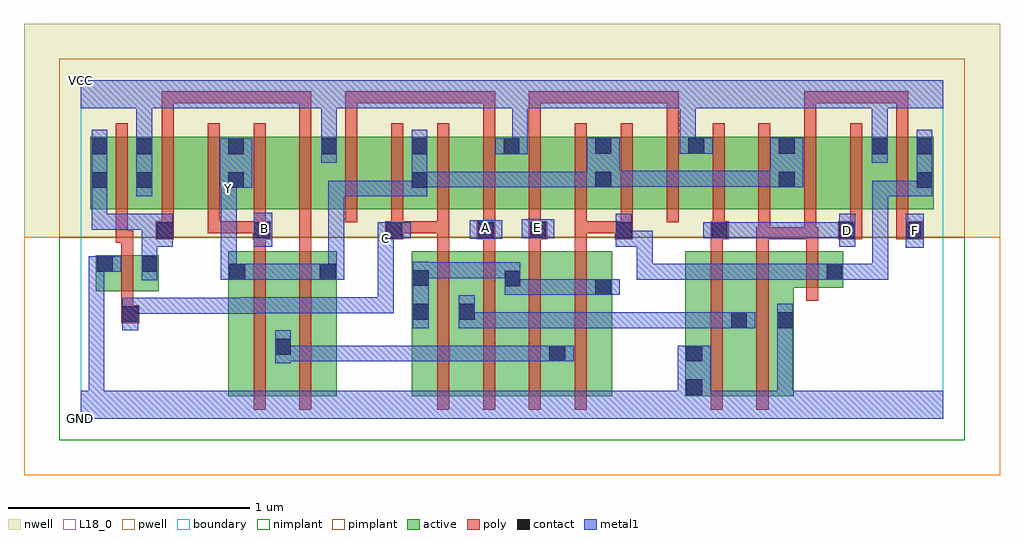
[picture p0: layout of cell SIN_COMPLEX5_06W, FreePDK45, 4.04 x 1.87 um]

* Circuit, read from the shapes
.subckt SIN_COMPLEX5_06W A B C D E F GND VCC Y
M1 n1 C GND VSUBS nfet w=0.15u l=0.05u
M2 n2 B Y VSUBS nfet w=0.6u l=0.05u
M3 Y n1 n2 VSUBS nfet w=0.6u l=0.05u
M4 n3 C n4 VSUBS nfet w=0.6u l=0.05u
M5 n4 A n3 VSUBS nfet w=0.6u l=0.05u
M6 n2 E n4 VSUBS nfet w=0.6u l=0.05u
M7 n4 n5 n2 VSUBS nfet w=0.6u l=0.05u
M8 n3 D GND VSUBS nfet w=0.6u l=0.05u
M9 GND F n3 VSUBS nfet w=0.6u l=0.05u
M10 n5 F GND VSUBS nfet w=0.15u l=0.05u
M11 VCC C n1 n6 pfet w=0.3u l=0.05u
M12 n7 n1 VCC n6 pfet w=0.3u l=0.05u
M13 Y B n7 n6 pfet w=0.3u l=0.05u
M14 n8 B Y n6 pfet w=0.3u l=0.05u
M15 VCC n1 n8 n6 pfet w=0.3u l=0.05u
M16 n9 A VCC n6 pfet w=0.3u l=0.05u
M17 Y C n9 n6 pfet w=0.3u l=0.05u
M18 n10 C Y n6 pfet w=0.3u l=0.05u
M19 VCC A n10 n6 pfet w=0.3u l=0.05u
M20 n11 E VCC n6 pfet w=0.3u l=0.05u
M21 Y n5 n11 n6 pfet w=0.3u l=0.05u
M22 n12 n5 Y n6 pfet w=0.3u l=0.05u
M23 VCC E n12 n6 pfet w=0.3u l=0.05u
M24 n13 D VCC n6 pfet w=0.3u l=0.05u
M25 Y F n13 n6 pfet w=0.3u l=0.05u
M26 n14 F Y n6 pfet w=0.3u l=0.05u
M27 VCC D n14 n6 pfet w=0.3u l=0.05u
M28 n5 F VCC n6 pfet w=0.3u l=0.05u
.ends

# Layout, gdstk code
import gdstk
lib = gdstk.Library(unit=1e-6, precision=1e-09)
def R(c, l, rs):  # rectangles x0, y0, x1, y1
    for r in rs: c.add(gdstk.rectangle(r[:2], r[2:], *l))
def A(c, l, x, y, w, h, nx, ny, dx, dy):  # array of equal rectangles
    R(c, l, [(x+i*dx, y+j*dy, x+i*dx+w, y+j*dy+h) for i in range(nx) for j in range(ny)])
active = (1, 0)
pwell = (2, 0)
nwell = (3, 0)
nimplant = (4, 0)
pimplant = (5, 0)
poly = (9, 0)
contact = (10, 0)
metal1 = (11, 0)
L18_0 = (18, 0)
boundary = (235, 0)

sin_complex5_06w = lib.new_cell('SIN_COMPLEX5_06W')
A(sin_complex5_06w, active, 1.37, 0.095, 0.075, 0.597, 3, 1, 0.19, 0)
A(sin_complex5_06w, active, 1.215, 0.867, 0.225, 0.3, 3, 1, 0.38, 0)
A(sin_complex5_06w, active, 1.365, 0.867, 0.075, 0.3, 3, 1, 0.76, 0)
A(sin_complex5_06w, active, 1.365, 0.867, 0.23, 0.3, 3, 1, 0.38, 0)
R(sin_complex5_06w, active, [(0.61,0.092,0.875,0.692), (0.8,0.092,1.06,0.692), (1.37,0.092,1.635,0.692), (1.56,0.092,1.825,0.692), (1.75,0.092,2.01,0.692), (1.935,0.092,2.2,0.692), (2.502,0.092,2.762,0.692), (2.502,0.092,2.577,0.68), (2.687,0.092,2.952,0.692), (2.877,0.092,2.952,0.542), (0.61,0.095,0.685,0.692), (0.8,0.095,0.875,0.692), (0.985,0.095,1.06,0.692), (1.935,0.095,2.01,0.68), (2.125,0.095,2.2,0.692), (2.687,0.095,2.762,0.692), (0.062,0.527,0.137,0.677), (0.062,0.527,0.322,0.677), (0.247,0.527,0.322,0.677), (2.877,0.542,3.157,0.692), (3.082,0.545,3.157,0.692), (0.04,0.867,0.115,1.165), (0.04,0.867,0.3,1.167), (0.225,0.867,0.3,1.167), (0.225,0.867,0.455,1.167), (0.455,0.867,0.68,1.167), (0.605,0.867,0.68,1.167), (0.605,0.867,0.835,1.167), (0.835,0.867,1.065,1.167), (0.99,0.867,1.065,1.167), (0.99,0.867,1.215,1.167), (2.355,0.867,2.585,1.167), (2.51,0.867,2.735,1.167), (2.735,0.867,2.96,1.167), (2.885,0.867,3.115,1.167), (3.115,0.867,3.345,1.167), (3.27,0.867,3.53,1.167), (3.27,0.867,3.345,1.167), (3.455,0.867,3.53,1.165), (1.745,1.002,1.82,1.167), (2.51,1.002,2.585,1.167)])
R(sin_complex5_06w, pwell, [(-0.235,-0.235,3.805,0.75)])
R(sin_complex5_06w, nwell, [(-0.235,0.75,3.805,1.635)])
R(sin_complex5_06w, nimplant, [(-0.09,-0.09,3.66,0.75)])
R(sin_complex5_06w, pimplant, [(-0.09,0.75,3.66,1.49)])
A(sin_complex5_06w, poly, 1.475, 0.037, 0.05, 0.71, 4, 1, 0.19, 0)
A(sin_complex5_06w, poly, 0.905, 0.697, 0.05, 0.12, 3, 1, 0.57, 0)
A(sin_complex5_06w, poly, 0.335, 0.767, 0.05, 0.095, 4, 1, 0.19, 0)
A(sin_complex5_06w, poly, 1.285, 0.767, 0.05, 0.095, 6, 1, 0.19, 0)
A(sin_complex5_06w, poly, 0.145, 0.812, 0.05, 0.41, 18, 1, 0.19, 0)
A(sin_complex5_06w, poly, 1.855, 1.172, 0.05, 0.183, 3, 1, 0.57, 0)
R(sin_complex5_06w, poly, [(0.715,0.037,0.765,0.747), (0.905,0.037,0.955,0.747), (2.607,0.037,2.657,0.747), (2.797,0.037,2.847,0.747), (0.167,0.395,0.242,0.47), (0.167,0.42,0.217,0.522), (0.167,0.472,0.217,0.732), (3.002,0.487,3.052,0.747), (0.167,0.682,0.217,0.777), (0.715,0.697,0.765,0.792), (1.665,0.697,1.715,0.792), (1.855,0.697,1.905,0.792), (2.607,0.697,2.657,0.792), (2.797,0.697,2.847,0.792), (3.002,0.697,3.052,0.792), (0.145,0.727,0.195,0.862), (0.145,0.727,0.217,0.777), (0.31,0.742,0.385,0.817), (0.712,0.742,0.787,0.817), (1.26,0.742,1.335,0.817), (1.64,0.742,1.715,0.817), (1.855,0.742,1.93,0.817), (2.21,0.742,2.285,0.817), (2.607,0.742,2.682,0.817), (2.797,0.742,2.855,0.792), (2.805,0.742,2.855,0.792), (2.805,0.742,2.855,0.792), (2.805,0.742,2.855,0.862), (2.805,0.742,3.045,0.792), (2.995,0.742,3.045,0.862), (2.995,0.742,3.052,0.792), (3.135,0.742,3.235,0.817), (3.375,0.742,3.485,0.817), (0.525,0.767,0.575,0.817), (0.525,0.767,0.575,0.817), (0.525,0.767,0.575,0.817), (0.525,0.767,0.762,0.817), (0.905,0.767,0.955,0.817), (1.285,0.767,1.525,0.817), (1.475,0.767,1.525,0.817), (1.475,0.767,1.525,0.817), (1.475,0.767,1.525,0.817), (2.045,0.767,2.095,0.817), (2.045,0.767,2.095,0.817), (2.045,0.767,2.095,0.817), (2.045,0.767,2.26,0.817), (2.615,0.767,2.665,0.862), (3.185,0.767,3.235,0.862), (3.375,0.767,3.425,0.862), (0.335,1.172,0.385,1.355), (0.905,1.172,0.955,1.355), (1.095,1.172,1.145,1.355), (1.665,1.172,1.715,1.355), (3.375,1.172,3.425,1.355), (0.335,1.305,0.385,1.355), (0.335,1.305,0.385,1.355), (0.335,1.305,0.385,1.355), (0.335,1.305,0.517,1.355), (0.467,1.305,0.517,1.355), (0.467,1.305,0.517,1.355), (0.467,1.305,0.517,1.355), (0.467,1.305,0.707,1.355), (0.657,1.305,0.707,1.355), (0.657,1.305,0.955,1.355), (0.905,1.305,0.955,1.355), (0.905,1.305,0.955,1.355), (0.905,1.305,0.955,1.355), (1.095,1.305,1.145,1.355), (1.095,1.305,1.145,1.355), (1.095,1.305,1.145,1.355), (1.095,1.305,1.335,1.355), (1.285,1.305,1.335,1.355), (1.285,1.305,1.335,1.355), (1.285,1.305,1.335,1.355), (1.285,1.305,1.467,1.355), (1.417,1.305,1.467,1.355), (1.417,1.305,1.715,1.355), (1.665,1.305,1.715,1.355), (1.665,1.305,1.715,1.355), (1.665,1.305,1.715,1.355), (1.855,1.305,1.905,1.355), (1.855,1.305,1.905,1.355), (1.855,1.305,1.905,1.355), (1.855,1.305,2.062,1.355), (2.012,1.305,2.062,1.355), (2.012,1.305,2.062,1.355), (2.012,1.305,2.062,1.355), (2.012,1.305,2.342,1.355), (2.292,1.305,2.342,1.355), (2.292,1.305,2.475,1.355), (2.425,1.305,2.475,1.355), (2.425,1.305,2.475,1.355), (2.425,1.305,2.475,1.355), (2.995,1.305,3.045,1.355), (2.995,1.305,3.045,1.355), (2.995,1.305,3.045,1.355), (2.995,1.305,3.177,1.355), (3.127,1.305,3.177,1.355), (3.127,1.305,3.425,1.355), (3.375,1.305,3.425,1.355), (3.375,1.305,3.425,1.355), (3.375,1.305,3.425,1.355)])
R(sin_complex5_06w, contact, [(2.507,0.097,2.572,0.162), (1.94,0.237,2.005,0.302), (2.507,0.237,2.572,0.302), (0.805,0.265,0.87,0.33), (2.692,0.375,2.757,0.44), (2.882,0.375,2.947,0.44), (0.172,0.4,0.237,0.465), (1.375,0.41,1.44,0.475), (1.565,0.41,1.63,0.475), (2.13,0.512,2.195,0.577), (1.755,0.547,1.82,0.612), (1.375,0.55,1.44,0.615), (0.615,0.575,0.68,0.64), (0.99,0.575,1.055,0.64), (3.087,0.575,3.152,0.64), (0.067,0.607,0.132,0.672), (0.252,0.607,0.317,0.672), (0.315,0.747,0.38,0.812), (0.717,0.747,0.782,0.812), (1.265,0.747,1.33,0.812), (1.645,0.747,1.71,0.812), (1.86,0.747,1.925,0.812), (2.215,0.747,2.28,0.812), (2.612,0.747,2.677,0.812), (3.14,0.747,3.205,0.812), (3.415,0.747,3.48,0.812), (0.045,0.955,0.11,1.02), (0.23,0.955,0.295,1.02), (0.61,0.955,0.675,1.02), (1.37,0.955,1.435,1.02), (3.46,0.955,3.525,1.02), (2.13,0.957,2.195,1.022), (2.89,0.957,2.955,1.022), (0.045,1.095,0.11,1.16), (0.23,1.095,0.295,1.16), (0.61,1.095,0.675,1.16), (0.995,1.095,1.06,1.16), (1.37,1.095,1.435,1.16), (1.75,1.095,1.815,1.16), (3.275,1.095,3.34,1.16), (3.46,1.095,3.525,1.16), (2.13,1.097,2.195,1.162), (2.515,1.097,2.58,1.162), (2.89,1.097,2.955,1.162)])
R(sin_complex5_06w, metal1, [(0,0,3.57,0.115), (0.032,0.05,0.097,0.672), (2.542,0.05,2.607,0.162), (2.882,0.05,2.947,0.405), (2.472,0.097,2.607,0.302), (0.805,0.23,0.87,0.365), (0.805,0.237,0.87,0.302), (0.805,0.237,0.87,0.302), (0.805,0.237,1.157,0.302), (1.092,0.237,1.157,0.302), (1.092,0.237,1.157,0.302), (1.092,0.237,1.157,0.302), (1.092,0.237,1.297,0.302), (1.232,0.237,1.297,0.302), (1.232,0.237,1.297,0.302), (1.232,0.237,1.297,0.302), (1.232,0.237,1.435,0.302), (1.37,0.237,1.435,0.302), (1.37,0.237,1.435,0.302), (1.37,0.237,1.435,0.302), (1.37,0.237,1.63,0.302), (1.565,0.237,1.63,0.302), (1.565,0.237,1.63,0.302), (1.565,0.237,1.63,0.302), (1.565,0.237,1.832,0.302), (1.767,0.237,1.832,0.302), (1.767,0.237,1.832,0.302), (1.767,0.237,1.832,0.302), (1.767,0.237,1.97,0.302), (1.905,0.237,2.04,0.302), (2.882,0.34,2.947,0.475), (0.172,0.365,0.237,0.5), (1.375,0.375,1.44,0.65), (1.565,0.375,1.63,0.44), (1.565,0.375,1.63,0.44), (1.565,0.375,1.63,0.51), (1.565,0.375,1.767,0.44), (1.702,0.375,1.767,0.44), (1.702,0.375,1.767,0.44), (1.702,0.375,1.767,0.44), (1.702,0.375,1.97,0.44), (1.905,0.375,1.97,0.44), (1.905,0.375,1.97,0.44), (1.905,0.375,1.97,0.44), (1.905,0.375,2.23,0.44), (2.165,0.375,2.23,0.44), (2.165,0.375,2.367,0.44), (2.302,0.375,2.367,0.44), (2.302,0.375,2.367,0.44), (2.302,0.375,2.367,0.44), (2.302,0.375,2.505,0.44), (2.44,0.375,2.505,0.44), (2.44,0.375,2.505,0.44), (2.44,0.375,2.505,0.44), (2.44,0.375,2.722,0.44), (2.657,0.375,2.722,0.44), (2.657,0.375,2.722,0.44), (2.657,0.375,2.792,0.44), (0.172,0.435,0.317,0.5), (0.252,0.435,0.317,0.5), (0.252,0.435,0.455,0.5), (0.39,0.435,0.455,0.5), (0.39,0.435,0.455,0.5), (0.39,0.435,0.455,0.5), (0.39,0.435,0.592,0.5), (0.527,0.435,0.592,0.5), (0.527,0.435,0.592,0.5), (0.527,0.435,0.592,0.5), (0.527,0.435,0.73,0.5), (0.665,0.435,0.73,0.502), (0.665,0.437,0.882,0.502), (0.817,0.437,0.882,0.502), (0.817,0.437,0.882,0.502), (0.817,0.437,0.882,0.502), (0.817,0.437,1.02,0.502), (0.955,0.437,1.02,0.502), (0.955,0.437,1.02,0.502), (0.955,0.437,1.02,0.502), (0.955,0.437,1.295,0.502), (1.23,0.437,1.295,0.502), (1.23,0.437,1.295,0.502), (1.23,0.437,1.295,0.502), (1.23,0.437,1.295,0.502), (1.23,0.437,1.295,0.502), (1.23,0.437,1.295,0.742), (1.755,0.512,1.82,0.577), (1.755,0.512,1.82,0.577), (1.755,0.512,1.82,0.647), (1.755,0.512,2.022,0.577), (1.957,0.512,2.022,0.577), (1.957,0.512,2.022,0.577), (1.957,0.512,2.022,0.577), (1.957,0.512,2.16,0.577), (2.095,0.512,2.23,0.577), (0.252,0.572,0.317,0.707), (0.58,0.575,0.715,0.64), (0.58,0.575,0.645,0.95), (0.65,0.575,0.73,0.64), (0.665,0.575,0.73,0.64), (0.665,0.575,0.882,0.64), (0.817,0.575,0.882,0.64), (0.817,0.575,0.882,0.64), (0.817,0.575,0.882,0.64), (0.817,0.575,1.02,0.64), (0.955,0.575,1.09,0.64), (1.025,0.575,1.09,0.64), (1.025,0.575,1.09,0.64), (1.025,0.575,1.09,0.985), (2.302,0.575,2.367,0.64), (2.302,0.575,2.505,0.64), (2.302,0.575,2.367,0.777), (2.44,0.575,2.505,0.64), (2.44,0.575,2.505,0.64), (2.44,0.575,2.505,0.64), (2.44,0.575,2.685,0.64), (2.62,0.575,2.685,0.64), (2.62,0.575,2.685,0.64), (2.62,0.575,2.685,0.64), (2.62,0.575,2.86,0.64), (2.795,0.575,2.86,0.64), (2.795,0.575,2.86,0.64), (2.795,0.575,2.86,0.64), (2.795,0.575,3.057,0.64), (2.992,0.575,3.057,0.64), (2.992,0.575,3.117,0.64), (3.052,0.575,3.187,0.64), (3.122,0.575,3.342,0.64), (3.277,0.575,3.342,0.64), (3.277,0.575,3.342,0.64), (3.277,0.575,3.342,0.64), (3.277,0.575,3.342,0.985), (1.375,0.582,1.44,0.647), (1.375,0.582,1.44,0.647), (1.375,0.582,1.577,0.647), (1.512,0.582,1.577,0.647), (1.512,0.582,1.577,0.647), (1.512,0.582,1.577,0.647), (1.512,0.582,1.82,0.647), (0.032,0.607,0.097,0.672), (0.032,0.607,0.097,0.672), (0.032,0.607,0.097,0.672), (0.032,0.607,0.097,0.672), (0.032,0.607,0.097,0.672), (0.032,0.607,0.097,0.672), (0.032,0.607,0.167,0.672), (0.252,0.642,0.317,0.847), (1.23,0.677,1.295,0.812), (3.415,0.707,3.49,0.847), (0.315,0.712,0.38,0.847), (0.717,0.712,0.792,0.852), (2.215,0.712,2.28,0.847), (2.215,0.712,2.367,0.777), (2.302,0.712,2.367,0.777), (3.14,0.712,3.205,0.847), (1.61,0.745,1.745,0.822), (1.23,0.747,1.295,0.812), (1.23,0.747,1.365,0.812), (1.825,0.747,1.96,0.825), (2.577,0.747,2.712,0.812), (2.647,0.747,2.712,0.812), (2.647,0.747,2.712,0.812), (2.647,0.747,2.86,0.812), (2.795,0.747,2.86,0.812), (2.795,0.747,2.86,0.812), (2.795,0.747,2.86,0.812), (2.795,0.747,3.057,0.812), (2.992,0.747,3.057,0.812), (2.992,0.747,3.057,0.812), (2.992,0.747,3.057,0.812), (2.992,0.747,3.205,0.812), (0.045,0.782,0.11,0.847), (0.045,0.782,0.11,0.847), (0.045,0.782,0.11,0.847), (0.045,0.782,0.317,0.847), (0.045,0.782,0.11,0.985), (0.252,0.782,0.317,0.847), (0.252,0.782,0.38,0.847), (0.58,0.885,0.645,1.02), (0.045,0.92,0.11,1.195), (0.23,0.92,0.295,1.195), (1.025,0.92,1.09,0.985), (1.025,0.92,1.09,0.985), (1.025,0.92,1.09,0.985), (1.025,0.92,1.297,0.985), (1.232,0.92,1.297,0.985), (1.232,0.92,1.297,0.985), (1.232,0.92,1.297,0.985), (1.232,0.92,1.435,0.985), (1.37,0.92,1.435,1.195), (3.277,0.92,3.342,0.985), (3.277,0.92,3.342,0.985), (3.277,0.92,3.342,0.985), (3.277,0.92,3.525,0.985), (3.46,0.92,3.525,0.985), (3.46,0.92,3.525,0.985), (3.46,0.92,3.525,1.195), (0.575,0.955,0.71,1.16), (0.58,0.955,0.645,1.02), (1.37,0.957,1.435,1.022), (1.37,0.957,1.435,1.022), (1.37,0.957,1.577,1.022), (1.512,0.957,1.577,1.022), (1.512,0.957,1.577,1.022), (1.512,0.957,1.577,1.022), (1.512,0.957,1.767,1.022), (1.702,0.957,1.767,1.022), (1.702,0.957,1.767,1.022), (1.702,0.957,1.767,1.022), (1.702,0.957,2.022,1.022), (1.957,0.957,2.022,1.022), (1.957,0.957,2.022,1.022), (1.957,0.957,2.022,1.022), (1.957,0.957,2.16,1.022), (2.095,0.957,2.23,1.162), (2.855,0.957,2.99,1.162), (2.165,0.96,2.23,1.025), (2.165,0.96,2.23,1.025), (2.165,0.96,2.367,1.025), (2.302,0.96,2.367,1.025), (2.302,0.96,2.505,1.025), (2.44,0.96,2.505,1.025), (2.44,0.96,2.505,1.025), (2.44,0.96,2.505,1.025), (2.44,0.96,2.642,1.025), (2.577,0.96,2.642,1.025), (2.577,0.96,2.642,1.025), (2.577,0.96,2.642,1.025), (2.577,0.96,2.92,1.025), (2.855,0.96,2.92,1.025), (2.855,0.96,2.92,1.025), (0.995,1.06,1.06,1.195), (3.275,1.06,3.34,1.195), (1.715,1.095,1.85,1.16), (1.785,1.095,1.85,1.35), (2.48,1.097,2.615,1.162), (2.48,1.097,2.545,1.35), (0.23,1.13,0.295,1.35), (0.995,1.13,1.06,1.35), (3.275,1.13,3.34,1.35), (0,1.285,3.57,1.4), (0.23,1.285,0.295,1.35), (0.23,1.285,0.295,1.35), (0.995,1.285,1.06,1.35), (0.995,1.285,1.06,1.35), (1.785,1.285,1.85,1.35), (1.785,1.285,1.85,1.35), (2.48,1.285,2.545,1.35), (2.48,1.285,2.545,1.35), (3.275,1.285,3.34,1.35), (3.275,1.285,3.34,1.35)])
R(sin_complex5_06w, L18_0, [(0,0,3.57,0.115), (0.032,0.05,0.097,0.672), (2.542,0.05,2.607,0.162), (2.882,0.05,2.947,0.405), (2.472,0.097,2.607,0.302), (2.882,0.34,2.947,0.475), (0.172,0.365,0.237,0.5), (0.172,0.435,0.317,0.5), (0.252,0.435,0.317,0.5), (0.252,0.435,0.455,0.5), (0.39,0.435,0.455,0.5), (0.39,0.435,0.455,0.5), (0.39,0.435,0.455,0.5), (0.39,0.435,0.592,0.5), (0.527,0.435,0.592,0.5), (0.527,0.435,0.592,0.5), (0.527,0.435,0.592,0.5), (0.527,0.435,0.73,0.5), (0.665,0.435,0.73,0.502), (0.665,0.437,0.882,0.502), (0.817,0.437,0.882,0.502), (0.817,0.437,0.882,0.502), (0.817,0.437,0.882,0.502), (0.817,0.437,1.02,0.502), (0.955,0.437,1.02,0.502), (0.955,0.437,1.02,0.502), (0.955,0.437,1.02,0.502), (0.955,0.437,1.295,0.502), (1.23,0.437,1.295,0.502), (1.23,0.437,1.295,0.502), (1.23,0.437,1.295,0.502), (1.23,0.437,1.295,0.502), (1.23,0.437,1.295,0.502), (1.23,0.437,1.295,0.742), (0.58,0.575,0.715,0.64), (0.58,0.575,0.645,0.95), (0.65,0.575,0.73,0.64), (0.665,0.575,0.73,0.64), (0.665,0.575,0.882,0.64), (0.817,0.575,0.882,0.64), (0.817,0.575,0.882,0.64), (0.817,0.575,0.882,0.64), (0.817,0.575,1.02,0.64), (0.955,0.575,1.09,0.64), (1.025,0.575,1.09,0.64), (1.025,0.575,1.09,0.64), (1.025,0.575,1.09,0.985), (0.032,0.607,0.097,0.672), (0.032,0.607,0.097,0.672), (0.032,0.607,0.097,0.672), (0.032,0.607,0.097,0.672), (0.032,0.607,0.097,0.672), (0.032,0.607,0.097,0.672), (0.032,0.607,0.167,0.672), (1.23,0.677,1.295,0.812), (3.415,0.707,3.49,0.847), (0.717,0.712,0.792,0.852), (1.23,0.712,1.295,0.777), (3.14,0.712,3.205,0.847), (1.61,0.745,1.745,0.822), (1.23,0.747,1.295,0.812), (1.23,0.747,1.365,0.812), (1.825,0.747,1.96,0.825), (2.577,0.747,2.712,0.812), (2.647,0.747,2.712,0.812), (2.647,0.747,2.712,0.812), (2.647,0.747,2.86,0.812), (2.795,0.747,2.86,0.812), (2.795,0.747,2.86,0.812), (2.795,0.747,2.86,0.812), (2.795,0.747,3.057,0.812), (2.992,0.747,3.057,0.812), (2.992,0.747,3.057,0.812), (2.992,0.747,3.057,0.812), (2.992,0.747,3.205,0.812), (3.14,0.747,3.205,0.812), (3.425,0.747,3.49,0.812), (0.727,0.752,0.792,0.817), (1.645,0.757,1.71,0.822), (1.86,0.76,1.925,0.825), (0.58,0.885,0.645,1.02), (0.23,0.92,0.295,1.195), (0.58,0.92,0.645,0.985), (1.025,0.92,1.09,0.985), (1.025,0.92,1.09,0.985), (1.025,0.92,1.09,0.985), (1.025,0.92,1.297,0.985), (1.232,0.92,1.297,0.985), (1.232,0.92,1.297,0.985), (1.232,0.92,1.297,0.985), (1.232,0.92,1.435,0.985), (1.37,0.92,1.435,1.195), (0.575,0.955,0.71,1.16), (0.58,0.955,0.645,1.02), (1.37,0.957,1.435,1.022), (1.37,0.957,1.435,1.022), (1.37,0.957,1.577,1.022), (1.512,0.957,1.577,1.022), (1.512,0.957,1.577,1.022), (1.512,0.957,1.577,1.022), (1.512,0.957,1.767,1.022), (1.702,0.957,1.767,1.022), (1.702,0.957,1.767,1.022), (1.702,0.957,1.767,1.022), (1.702,0.957,2.022,1.022), (1.957,0.957,2.022,1.022), (1.957,0.957,2.022,1.022), (1.957,0.957,2.022,1.022), (1.957,0.957,2.16,1.022), (2.095,0.957,2.23,1.162), (2.855,0.957,2.99,1.162), (2.165,0.96,2.23,1.025), (2.165,0.96,2.23,1.025), (2.165,0.96,2.367,1.025), (2.302,0.96,2.367,1.025), (2.302,0.96,2.505,1.025), (2.44,0.96,2.505,1.025), (2.44,0.96,2.505,1.025), (2.44,0.96,2.505,1.025), (2.44,0.96,2.642,1.025), (2.577,0.96,2.642,1.025), (2.577,0.96,2.642,1.025), (2.577,0.96,2.642,1.025), (2.577,0.96,2.92,1.025), (2.855,0.96,2.92,1.025), (2.855,0.96,2.92,1.025), (0.995,1.06,1.06,1.195), (3.275,1.06,3.34,1.195), (1.715,1.095,1.85,1.16), (1.785,1.095,1.85,1.35), (2.48,1.097,2.615,1.162), (2.48,1.097,2.545,1.35), (0.23,1.13,0.295,1.35), (0.995,1.13,1.06,1.35), (3.275,1.13,3.34,1.35), (0,1.285,3.57,1.4), (0.23,1.285,0.295,1.35), (0.23,1.285,0.295,1.35), (0.995,1.285,1.06,1.35), (0.995,1.285,1.06,1.35), (1.785,1.285,1.85,1.35), (1.785,1.285,1.85,1.35), (2.48,1.285,2.545,1.35), (2.48,1.285,2.545,1.35), (3.275,1.285,3.34,1.35), (3.275,1.285,3.34,1.35)])
R(sin_complex5_06w, boundary, [(0,0,3.57,1.4)])
sin_complex5_06w.add(gdstk.Label('A', (1.677,0.79), layer=11, texttype=0))
sin_complex5_06w.add(gdstk.Label('B', (0.76,0.785), layer=11, texttype=0))
sin_complex5_06w.add(gdstk.Label('C', (1.262,0.745), layer=11, texttype=0))
sin_complex5_06w.add(gdstk.Label('D', (3.172,0.78), layer=11, texttype=0))
sin_complex5_06w.add(gdstk.Label('E', (1.892,0.792), layer=11, texttype=0))
sin_complex5_06w.add(gdstk.Label('F', (3.457,0.78), layer=11, texttype=0))
sin_complex5_06w.add(gdstk.Label('Y', (0.612,0.952), layer=11, texttype=0))
sin_complex5_06w.add(gdstk.Label('VCC', (0,1.4), layer=11, texttype=0))
sin_complex5_06w.add(gdstk.Label('GND', (0,0), layer=11, texttype=0))

lib.write_gds('SIN_COMPLEX5_06W.gds')
